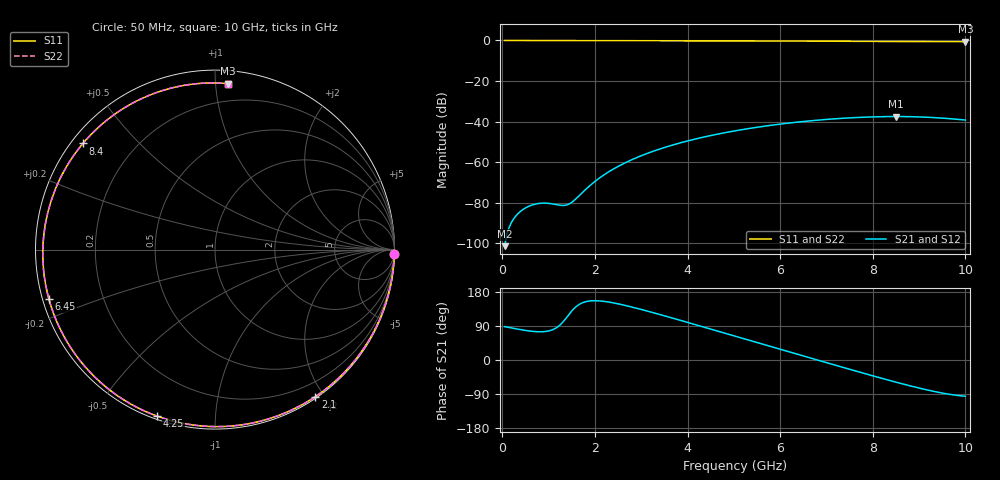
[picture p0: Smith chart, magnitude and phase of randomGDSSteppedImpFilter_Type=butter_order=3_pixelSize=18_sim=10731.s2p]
! freq	dB(S11)	phase(S11)	dB(S12)	phase(S12)
!  dB(S21)	phase(S21)	dB(S22)	phase(S22)
!S-par simulation data
#  GHz  S  DB  R 50
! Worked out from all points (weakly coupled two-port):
!   200 points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, 50 MHz to 10 GHz, reference 50 ohm
!   highest |S21| = -37.49 dB at 8.5 GHz (marker M1); lowest = -101.4 dB at 50 MHz (marker M2)
!   lowest |S11| = -0.7 dB at 10 GHz (marker M3), VSWR 26.59, Z = 4.08 + j53.9 ohm
!   |S11| at or under -10 dB: nowhere
!   |S22| runs from -0.7 to 0.0 dB; largest |S21 - S12| = 0
!   S11 on the Smith chart (normalised r, x): 50 MHz: 0, -85; 2.1 GHz: 0.02, -1.89; 4.25 GHz: 0.01, -0.71; 6.45 GHz: 0.02, -0.15; 8.4 GHz: 0.03, +0.35; 10 GHz: 0.08, +1.08
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0.05  -0.00 -1.3  -101.38 88.1  -101.38 88.1  -0.00 -1.4
0.75  -0.03 -20.2  -80.48 74.7  -80.48 74.7  -0.02 -20.2
1.45  -0.05 -38.8  -80.52 121.8  -80.52 121.8  -0.05 -38.8
1.5  -0.05 -40.1  -79.78 129.2  -79.78 129.2  -0.05 -40.1
1.75  -0.06 -46.6  -74.50 151.9  -74.50 151.9  -0.06 -46.6
2.1  -0.07 -55.7  -67.77 156.0  -67.77 156.0  -0.07 -55.7
2.65  -0.09 -69.6  -60.33 144.1  -60.33 144.1  -0.09 -69.6
3.4  -0.12 -88.3  -53.50 120.1  -53.50 120.1  -0.12 -88.3
4.25  -0.15 -109.0  -48.13 90.4  -48.13 90.4  -0.15 -109.0
5.05  -0.20 -128.4  -44.44 62.1  -44.44 62.1  -0.20 -128.4
5.8  -0.25 -146.8  -41.81 35.4  -41.81 35.4  -0.25 -146.8
6.45  -0.30 -163.3  -40.06 12.4  -40.06 12.4  -0.30 -163.3
6.7  -0.33 -169.8  -39.50 3.6  -39.50 3.6  -0.33 -169.8
7.15  -0.37 178.1  -38.66 -12.3  -38.66 -12.3  -0.37 178.1
7.55  -0.41 166.8  -38.09 -26.3  -38.09 -26.3  -0.41 166.9
7.95  -0.45 155.1  -37.70 -40.1  -37.70 -40.1  -0.45 155.2
8.35  -0.50 142.8  -37.51 -53.5  -37.51 -53.5  -0.50 142.9
8.4  -0.50 141.2  -37.50 -55.2  -37.50 -55.2  -0.50 141.3
8.5  -0.51 138.0  -37.49 -58.5  -37.49 -58.5  -0.51 138.1
9.3  -0.59 111.0  -37.99 -82.3  -37.99 -82.3  -0.59 111.2
9.65  -0.63 98.5  -38.53 -90.4  -38.53 -90.4  -0.63 98.6
10  -0.65 85.5  -39.21 -95.6  -39.21 -95.6  -0.65 85.7
